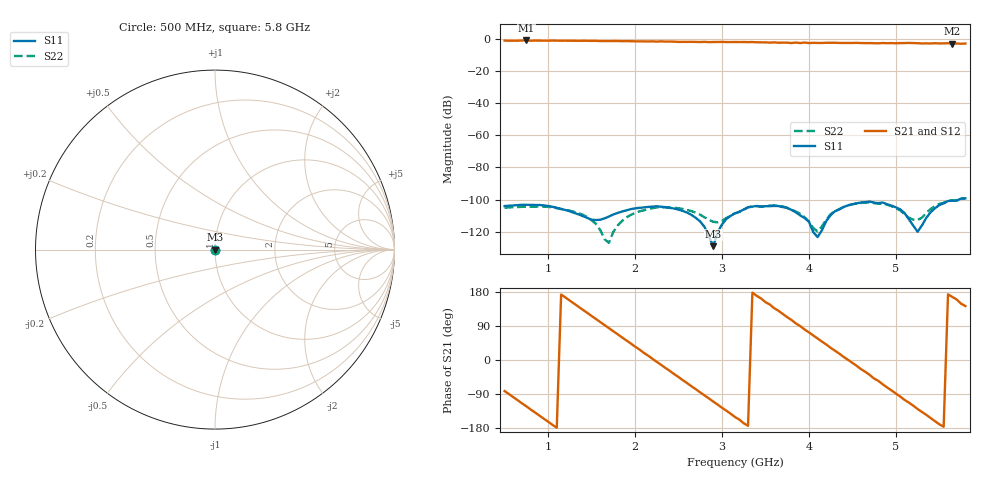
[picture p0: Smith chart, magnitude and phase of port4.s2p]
# GHZ S RI R 50
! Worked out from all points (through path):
!   107 points, 500 MHz to 5.8 GHz, reference 50 ohm
!   highest |S21| = -1.07 dB at 750 MHz (marker M1); lowest = -3.1 dB at 5.65 GHz (marker M2)
!   group delay of S21, straight-line fit = 448 ps
!   lowest |S11| = -129.0 dB at 2.9 GHz (marker M3), VSWR 1.00, Z = 50 - j9.72e-06 ohm
!   |S11| at or under -10 dB: start of sweep to end of sweep
!   |S22| runs from -126.9 to -99.3 dB; largest |S21 - S12| = 0.015
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0.5  5.3e-06 -3.4e-06  0.1215 -0.8667  0.1219 -0.8662  5.43e-06 -1.17e-06
0.75  1.38e-06 -6.72e-06  -0.4705 -0.748  -0.4701 -0.7479  4.42e-06 -4.01e-06
1.05  -3.56e-06 -4.79e-06  -0.8657 -0.1372  -0.8661 -0.1358  7.6e-07 -5.63e-06
1.4  -2.86e-06 -1.1e-06  -0.5837 0.638  -0.5841 0.6392  -2.31e-06 -2.46e-06
1.55  -1.88e-06 -1.33e-06  -0.2701 0.8156  -0.2686 0.816  -1.54e-06 -8.79e-07
1.8  -2.5e-06 -2.91e-06  0.3176 0.7857  0.3184 0.7839  1.23e-06 -9.53e-07
2.1  -5.39e-06 -1.77e-06  0.7819 0.2703  0.7813 0.27  8.58e-07 -4.54e-06
2.3  -5.94e-06 9.08e-07  0.8083 -0.1822  0.8085 -0.1786  -2.12e-06 -5.39e-06
2.65  -1.69e-06 2.87e-06  0.2811 -0.7492  0.2858 -0.748  -4.2e-06 -1.19e-06
2.9  -3.42e-07 -9.72e-08  -0.2665 -0.7442  -0.265 -0.7452  -1.92e-06 -6.75e-07
3.15  -3.06e-06 -2.12e-06  -0.6878 -0.389  -0.6874 -0.3943  -2.24e-06 -3e-06
3.5  -5.75e-06 2.38e-06  -0.6829 0.3536  -0.692 0.3491  -6.23e-06 -5.31e-07
3.85  -7.49e-07 3.94e-06  -0.0875 0.7554  -0.0916 0.7585  -2.83e-06 3.14e-06
4.05  -2.57e-07 9.39e-07  0.3172 0.6756  0.3184 0.6747  -9.98e-07 8.56e-07
4.3  -4.31e-06 -4.21e-07  0.6816 0.3108  0.6801 0.3091  -3.79e-06 -2.05e-06
4.5  -6.55e-06 2.95e-06  0.7308 -0.0967  0.734 -0.1005  -7.12e-06 -9.72e-08
4.75  -3.14e-06 7.39e-06  0.4762 -0.5485  0.4747 -0.5493  -6.11e-06 4.8e-06
4.95  1.6e-06 6.28e-06  0.1243 -0.7202  0.125 -0.7206  -2.65e-06 5.62e-06
5.15  2.16e-06 1.12e-06  -0.2826 -0.6849  -0.2844 -0.687  -1.1e-06 2.47e-06
5.35  -2.53e-06 -9.4e-07  -0.5869 -0.4165  -0.5852 -0.4142  -3.79e-06 6.86e-07
5.65  -7.36e-06 5.45e-06  -0.6764 0.164  -0.6804 0.1748  -7.83e-06 5.41e-06
5.8  -4.61e-06 9.86e-06  -0.5626 0.4337  -0.5535 0.4407  -5.38e-06 9.33e-06
